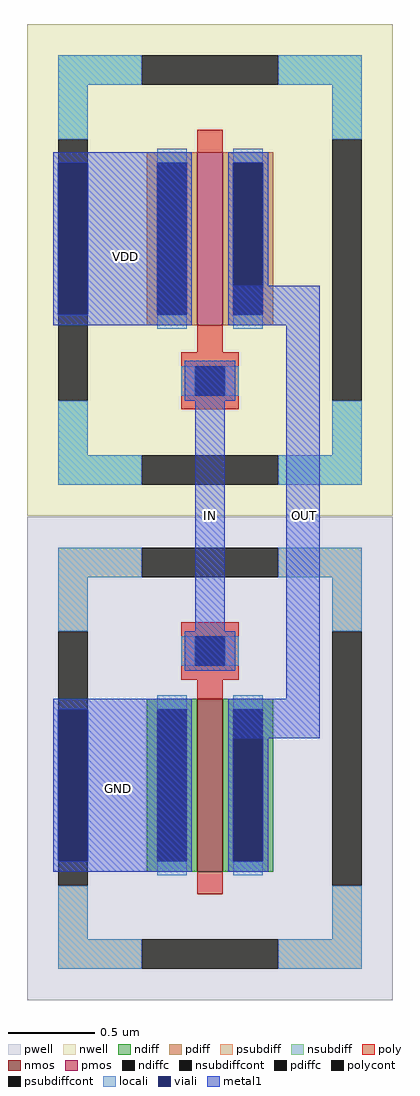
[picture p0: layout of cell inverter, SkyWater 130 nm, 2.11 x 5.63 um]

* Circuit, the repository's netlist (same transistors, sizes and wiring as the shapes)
** sch_path: /home/mreza/mag/Inverter_RingOsc/inverter.sch
.subckt inverter VDD IN OUT GND
*.PININFO GND:I IN:I VDD:I OUT:O
XM1 OUT IN GND GND sky130_fd_pr__nfet_01v8 L=0.15 W=1 nf=1 m=1
XM2 OUT IN VDD VDD sky130_fd_pr__pfet_01v8 L=0.15 W=1 nf=1 m=1
.ends
.end

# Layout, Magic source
magic
tech sky130A
magscale 1 2
<< viali >>
rect 246 -1453 280 -1277
rect 246 -2084 280 -1908
<< metal1 >>
rect 240 -1277 399 -1265
rect 240 -1453 246 -1277
rect 280 -1453 399 -1277
rect 240 -1465 399 -1453
rect 442 -1465 548 -1419
rect 404 -1858 438 -1512
rect 509 -1896 548 -1465
rect 240 -1908 400 -1896
rect 240 -2084 246 -1908
rect 280 -2084 400 -1908
rect 442 -1942 548 -1896
rect 240 -2096 400 -2084
use sky130_fd_pr__nfet_01v8_64Z3AY  XM1
transform 1 0 421 0 1 -1965
box -211 -279 211 279
use sky130_fd_pr__pfet_01v8_LGS3BL  XM2
transform 1 0 421 0 1 -1401
box -211 -284 211 284
<< labels >>
flabel metal1 301 -1403 346 -1367 0 FreeSans 160 0 0 0 VDD
port 1 nsew
flabel metal1 293 -2018 338 -1982 0 FreeSans 160 0 0 0 GND
port 3 nsew
flabel metal1 422 -1684 422 -1684 0 FreeSans 160 0 0 0 IN
port 5 nsew
flabel metal1 530 -1684 530 -1684 0 FreeSans 160 0 0 0 OUT
port 7 nsew
<< end >>

# cell sky130_fd_pr__nfet_01v8_64Z3AY: kit device sky130_fd_pr__nfet_01v8, w 1.0 l 0.15 m 1 nf 1 diffcov 100 polycov 100 guard 1 glc 1 grc 1 gtc 1 gbc 1 tbcov 100 rlcov 100 topc 1 botc 0 poverlap 0 doverlap 1 lmin 0.15 wmin 0.42 compatible {sky130_fd_pr__nfet_01v8 sky130_fd_pr__nfet_01v8_lvt sky130_fd_bs_flash__special_sonosfet_star sky130_fd_pr__nfet_g5v0d10v5 sky130_fd_pr__nfet_05v0_nvt sky130_fd_pr__nfet_03v3_nvt} full_metal 1 viasrc 100 viadrn 100 viagate 100 viagb 0 viagr 0 viagl 0 viagt 0

# cell sky130_fd_pr__pfet_01v8_LGS3BL: kit device sky130_fd_pr__pfet_01v8, w 1.0 l 0.15 m 1 nf 1 diffcov 100 polycov 100 guard 1 glc 1 grc 1 gtc 1 gbc 1 tbcov 100 rlcov 100 topc 0 botc 1 poverlap 0 doverlap 1 lmin 0.15 wmin 0.42 compatible {sky130_fd_pr__pfet_01v8 sky130_fd_pr__pfet_01v8_lvt sky130_fd_pr__pfet_01v8_hvt sky130_fd_pr__pfet_g5v0d10v5} full_metal 1 viasrc 100 viadrn 100 viagate 100 viagb 0 viagr 0 viagl 0 viagt 0
